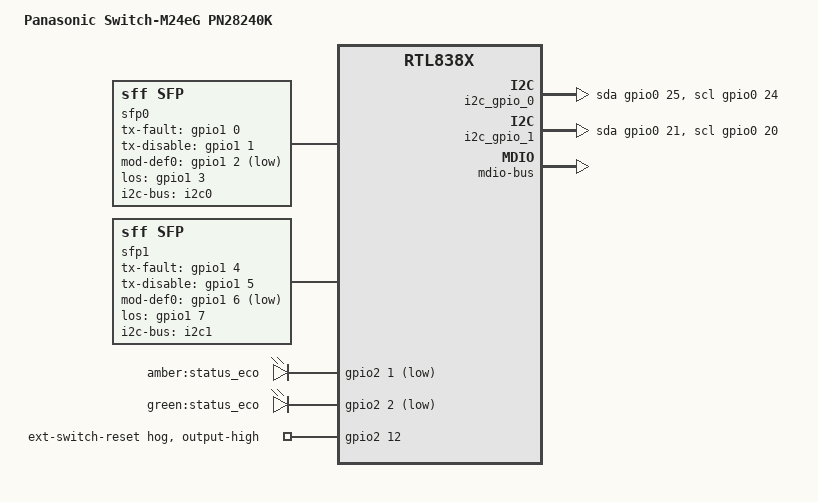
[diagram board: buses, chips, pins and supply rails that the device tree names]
// SPDX-License-Identifier: GPL-2.0-or-later OR MIT

#include "rtl838x.dtsi"
#include "rtl83xx_panasonic_mxxeg-pn28xx0k.dtsi"

/ {
	compatible = "panasonic,m24eg-pn28240k", "realtek,rtl838x-soc";
	model = "Panasonic Switch-M24eG PN28240K";

	aliases {
		led-boot = &led_status_eco_green;
		led-failsafe = &led_status_eco_amber;
		led-running = &led_status_eco_green;
		led-upgrade = &led_status_eco_green;
	};

	/*
	 * sfp0/1 are "combo" port with each TP port (23/24), and they are
	 * connected to the RTL8218FB. Currently, there is no support for
	 * the chip and only TP ports work by the RTL8218D support.
	 */
	sfp0: sfp-p23 {
		compatible = "sff,sfp";
		i2c-bus = <&i2c0>;
		tx-fault-gpio = <&gpio1 0 GPIO_ACTIVE_HIGH>;
		tx-disable-gpio = <&gpio1 1 GPIO_ACTIVE_HIGH>;
		mod-def0-gpio = <&gpio1 2 GPIO_ACTIVE_LOW>;
		los-gpio = <&gpio1 3 GPIO_ACTIVE_HIGH>;
	};

	sfp1: sfp-p24 {
		compatible = "sff,sfp";
		i2c-bus = <&i2c1>;
		tx-fault-gpio = <&gpio1 4 GPIO_ACTIVE_HIGH>;
		tx-disable-gpio = <&gpio1 5 GPIO_ACTIVE_HIGH>;
		mod-def0-gpio = <&gpio1 6 GPIO_ACTIVE_LOW>;
		los-gpio = <&gpio1 7 GPIO_ACTIVE_HIGH>;
	};
};

&leds {
	led_status_eco_amber: status_eco_amber {
		label = "amber:status_eco";
		gpios = <&gpio2 1 GPIO_ACTIVE_LOW>;
	};

	led_status_eco_green: status_eco_green {
		label = "green:status_eco";
		gpios = <&gpio2 2 GPIO_ACTIVE_LOW>;
	};
};

&i2c_gpio_0 {
	/* SoC GPIO 0 */
	scl-gpios = <&gpio0 24 (GPIO_ACTIVE_HIGH | GPIO_OPEN_DRAIN)>;
	/* SoC GPIO 1 */
	sda-gpios = <&gpio0 25 (GPIO_ACTIVE_HIGH | GPIO_OPEN_DRAIN)>;
};

&i2c_gpio_1 {
	/* SoC GPIO 12 */
	scl-gpios = <&gpio0 20 (GPIO_ACTIVE_HIGH | GPIO_OPEN_DRAIN)>;
	/* SoC GPIO 13 */
	sda-gpios = <&gpio0 21 (GPIO_ACTIVE_HIGH | GPIO_OPEN_DRAIN)>;
};

&gpio2 {
	/* GPIO12 (IO1_4): RTL8218B + RTL8218FB */
	ext_switch_reset {
		gpio-hog;
		gpios = <12 GPIO_ACTIVE_HIGH>;
		output-high;
		line-name = "ext-switch-reset";
	};
};

&ethernet0 {
	mdio-bus {
		compatible = "realtek,rtl838x-mdio";
		regmap = <&ethernet0>;
		#address-cells = <1>;
		#size-cells = <0>;

		EXTERNAL_PHY(0)
		EXTERNAL_PHY(1)
		EXTERNAL_PHY(2)
		EXTERNAL_PHY(3)
		EXTERNAL_PHY(4)
		EXTERNAL_PHY(5)
		EXTERNAL_PHY(6)
		EXTERNAL_PHY(7)

		INTERNAL_PHY(8)
		INTERNAL_PHY(9)
		INTERNAL_PHY(10)
		INTERNAL_PHY(11)
		INTERNAL_PHY(12)
		INTERNAL_PHY(13)
		INTERNAL_PHY(14)
		INTERNAL_PHY(15)

		EXTERNAL_PHY(16)
		EXTERNAL_PHY(17)
		EXTERNAL_PHY(18)
		EXTERNAL_PHY(19)
		EXTERNAL_PHY(20)
		EXTERNAL_PHY(21)
		EXTERNAL_PHY(22)
		EXTERNAL_PHY(23)
	};
};

&switch0 {
	ports {
		#address-cells = <1>;
		#size-cells = <0>;

		SWITCH_PORT(0, 1, qsgmii)
		SWITCH_PORT(1, 2, qsgmii)
		SWITCH_PORT(2, 3, qsgmii)
		SWITCH_PORT(3, 4, qsgmii)
		SWITCH_PORT(4, 5, qsgmii)
		SWITCH_PORT(5, 6, qsgmii)
		SWITCH_PORT(6, 7, qsgmii)
		SWITCH_PORT(7, 8, qsgmii)

		SWITCH_PORT(8, 9, internal)
		SWITCH_PORT(9, 10, internal)
		SWITCH_PORT(10, 11, internal)
		SWITCH_PORT(11, 12, internal)
		SWITCH_PORT(12, 13, internal)
		SWITCH_PORT(13, 14, internal)
		SWITCH_PORT(14, 15, internal)
		SWITCH_PORT(15, 16, internal)

		SWITCH_PORT(16, 17, qsgmii)
		SWITCH_PORT(17, 18, qsgmii)
		SWITCH_PORT(18, 19, qsgmii)
		SWITCH_PORT(19, 20, qsgmii)
		SWITCH_PORT(20, 21, qsgmii)
		SWITCH_PORT(21, 22, qsgmii)
		SWITCH_PORT(22, 23, qsgmii)
		SWITCH_PORT(23, 24, qsgmii)

		port@28 {
			ethernet = <&ethernet0>;
			reg = <28>;
			phy-mode = "internal";

			fixed-link {
				speed = <1000>;
				full-duplex;
			};
		};
	};
};
